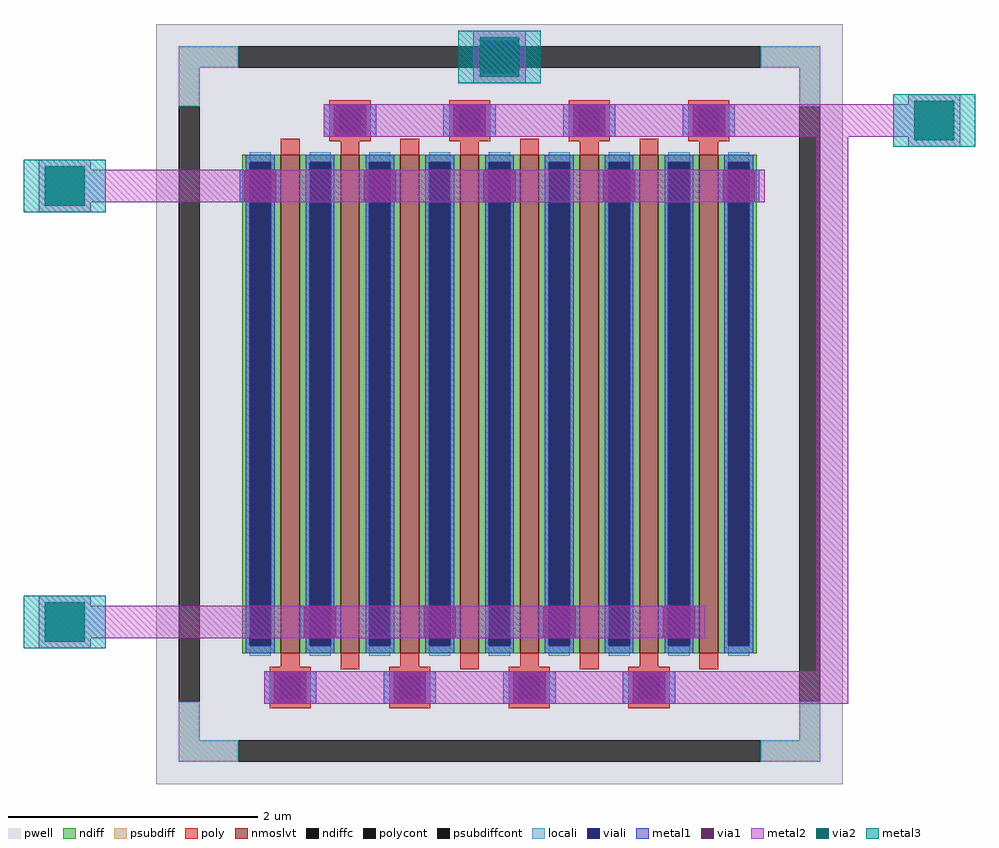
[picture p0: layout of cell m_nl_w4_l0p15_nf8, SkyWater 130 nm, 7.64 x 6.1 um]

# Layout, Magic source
magic
tech sky130A
magscale 1 2
<< metal1 >>
rect -417 324 -351 376
rect -225 324 -159 376
rect -33 324 33 376
rect 159 324 225 376
rect 351 324 417 376
rect -321 -376 -255 -324
rect -129 -376 -63 -324
rect 63 -376 129 -324
rect 255 -376 321 -324
rect -282 429 -198 481
rect -90 429 -6 481
rect 102 429 186 481
rect 294 429 378 481
rect -378 -481 -294 -429
rect -186 -481 -102 -429
rect 6 -481 90 -429
rect 198 -481 282 -429
rect -32 531 32 583
<< via1 >>
rect -410 324 -358 376
rect -218 324 -166 376
rect -26 324 26 376
rect 166 324 218 376
rect 358 324 410 376
rect -314 -376 -262 -324
rect -122 -376 -70 -324
rect 70 -376 122 -324
rect 262 -376 314 -324
rect -266 429 -214 481
rect -74 429 -22 481
rect 118 429 170 481
rect 310 429 362 481
rect -362 -481 -310 -429
rect -170 -481 -118 -429
rect 22 -481 74 -429
rect 214 -481 266 -429
rect -26 531 26 583
<< metal2 >>
rect -417 324 -351 376
rect -225 324 -159 376
rect -33 324 33 376
rect 159 324 225 376
rect 351 324 417 376
rect -321 -376 -255 -324
rect -129 -376 -63 -324
rect 63 -376 129 -324
rect 255 -376 321 -324
rect -426 324 426 376
rect -330 -376 330 -324
rect -282 429 -198 481
rect -90 429 -6 481
rect 102 429 186 481
rect 294 429 378 481
rect -282 429 560 481
rect -378 -481 -294 -429
rect -186 -481 -102 -429
rect 6 -481 90 -429
rect 198 -481 282 -429
rect -378 -481 560 -429
rect 508 -481 560 481
rect -740 324 -384 376
rect -740 -376 -288 -324
rect 508 429 740 481
rect -42 515 42 599
rect -740 308 -656 392
rect -740 -392 -656 -308
rect 656 413 740 497
<< viali >>
rect -17 540 17 574
<< via2 >>
rect -730 318 -666 382
rect -730 -382 -666 -318
rect 666 423 730 487
rect -32 525 32 589
<< metal3 >>
rect -764 308 -632 392
rect -764 -392 -632 -308
rect 632 413 764 497
rect -66 515 66 599
use g_nl_w4_l0p15_nf8 d
transform 1 0 0 0 1 0
box -498 -557 498 557
<< end >>

# cell g_nl_w4_l0p15_nf8: kit device sky130_fd_pr__nfet_01v8_lvt, w 4 l 0.15 m 1 nf 8 diffcov 100 polycov 100 guard 1 glc 1 grc 1 gtc 1 gbc 1 tbcov 100 rlcov 100 topc 1 botc 1 poverlap 0 doverlap 1 lmin 0.15 wmin 0.42 class mosfet compatible {sky130_fd_pr__nfet_01v8 sky130_fd_pr__nfet_01v8_lvt sky130_fd_bs_flash__special_sonosfet_star sky130_fd_pr__nfet_g5v0d10v5 sky130_fd_pr__nfet_05v0_nvt sky130_fd_pr__nfet_03v3_nvt} full_metal 1 viasrc 100 viadrn 100 viagate 100 viagb 0 viagr 0 viagl 0 viagt 0
